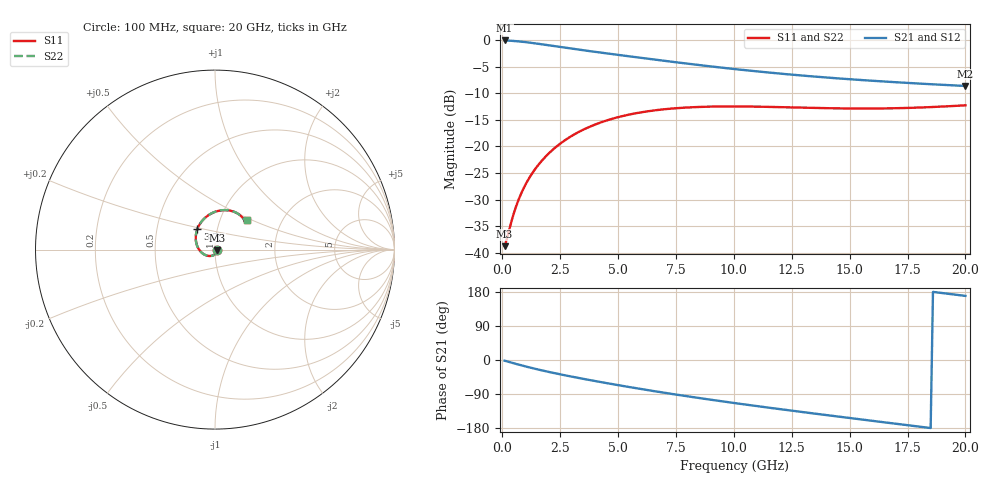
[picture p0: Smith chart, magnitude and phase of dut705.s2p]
! Touchstone file exported from HFSS 2024.1.0
!  File:  C:/UserFiles/LocalFiles/RDL_TSV_Batchsim/temp_RDL_TSV_705_1779886918.aedt
!  Generated:  09:18:14 PM May 27, 2026
!  Design:  RDL_TSV
!  Project:  temp_RDL_TSV_705_1779886918
!  Setup:  Setup1
!  Solution:  Sweep
! Variables:
!  dtsv = 11.76um
!  hbump = 3um
!  htsv = 80.5um
!  ldown = 221.4um
!  lrdl = 500.23um
!  p = 40
!  p1 = 48.41um
!  rhole = 10um
!  subl = 2665.12um
!  t = 450um
!  tdown = 2.48um
!  trdl = 3.92um
!  viad = 10um
!  wdown = 25.12um
!  wrdl = 29.05um
!  xbump = 18um
# GHz S MA R 50.000000
! Terminal data exported
! Port[1] = TM1_1_T1
! Port[2] = TM1_4_T1
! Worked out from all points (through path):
!   200 points, 100 MHz to 20 GHz, reference 50 ohm
!   highest |S21| = -0.10 dB at 100 MHz (marker M1); lowest = -8.6 dB at 20 GHz (marker M2)
!   group delay of S21, straight-line fit = 25 ps
!   lowest |S11| = -38.7 dB at 100 MHz (marker M3), VSWR 1.02, Z = 51.1 - j0.447 ohm
!   |S11| at or under -10 dB: start of sweep to end of sweep
!   |S22| runs from -38.7 to -12.3 dB; largest |S21 - S12| = 2.1e-14
!   S11 on the Smith chart (normalised r, x): 100 MHz: 1.02, -0.01; 3.7 GHz: 0.80, +0.19; 20 GHz: 1.34, +0.47
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0.1  0.01158 -22.2  0.9884 -1.8  0.9884 -1.8  0.01158 -22.2
! Gamma 0 0 0 0
! Port Impedance 50 0 50 0
0.5  0.02364 -84.2  0.9776 -8.7  0.9776 -8.7  0.02364 -84.2
0.7  0.03145 -103.2  0.9694 -12.1  0.9694 -12.1  0.03145 -103.2
1  0.04373 -125.5  0.9539 -16.9  0.9539 -16.9  0.04373 -125.5
1.3  0.05629 -143.7  0.9359 -21.5  0.9359 -21.5  0.0563 -143.7
1.7  0.07316 -164.0  0.9099 -27.3  0.9099 -27.3  0.07317 -164.0
2.2  0.09399 175.0  0.8771 -34.0  0.8771 -34.0  0.09402 175.0
2.8  0.118 154.6  0.8397 -41.5  0.8397 -41.5  0.118 154.6
3.5  0.1437 135.5  0.7996 -49.8  0.7996 -49.8  0.1438 135.5
3.7  0.1505 130.8  0.7888 -52.1  0.7888 -52.1  0.1506 130.8
4.4  0.1723 116.1  0.7528 -59.9  0.7528 -59.9  0.1724 116.1
5.1  0.1906 103.9  0.719 -67.4  0.719 -67.4  0.1907 103.9
5.9  0.2073 92.2  0.6827 -75.6  0.6827 -75.6  0.2074 92.2
6.8  0.2211 81.3  0.6446 -84.5  0.6446 -84.5  0.2212 81.3
8.4  0.2343 66.4  0.5842 -99.5  0.5842 -99.5  0.2345 66.4
10.1  0.2374 55.4  0.5306 -114.2  0.5306 -114.2  0.2375 55.4
11.7  0.2347 48.5  0.4895 -127.3  0.4895 -127.3  0.2348 48.6
13.4  0.2301 44.3  0.4543 -140.8  0.4543 -140.8  0.2301 44.4
15  0.2271 42.5  0.4275 -153.1  0.4275 -153.1  0.2272 42.6
16.7  0.2278 42.2  0.4042 -166.0  0.4042 -166.0  0.2279 42.3
18.3  0.2331 42.5  0.386 -178.0  0.386 -178.0  0.2332 42.6
20  0.2432 42.7  0.3695 169.2  0.3695 169.2  0.2435 42.9
